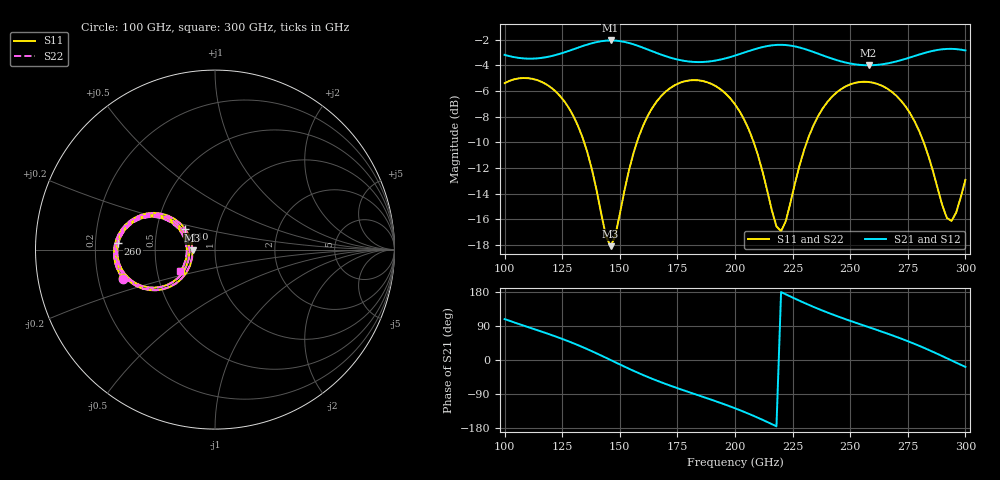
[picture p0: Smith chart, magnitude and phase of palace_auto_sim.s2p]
#  GHZ S DB R 50
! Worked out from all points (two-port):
!   101 points, 100 GHz to 300 GHz, reference 50 ohm
!   highest |S21| = -2.06 dB at 146 GHz (marker M1); lowest = -4.0 dB at 258 GHz (marker M2)
!   |S21| within 3 dB of the highest: start of sweep to end of sweep
!   lowest |S11| = -18.1 dB at 146 GHz (marker M3), VSWR 1.29, Z = 38.9 - j0.352 ohm
!   |S11| at or under -10 dB: 134.5 GHz to 157.4 GHz (22.89 GHz wide, 15.7 % of centre); 208.1 GHz to 231.1 GHz (23.01 GHz wide, 10.5 % of centre); 281.9 GHz to end of sweep
!   |S22| runs from -18.0 to -5.0 dB; largest |S21 - S12| = 8.7e-14
!   S11 on the Smith chart (normalised r, x): 100 GHz: 0.31, -0.14; 140 GHz: 0.70, +0.17; 260 GHz: 0.30, +0.03; 300 GHz: 0.66, -0.17
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100  -5.39 -162.6  -3.18 107.9  -3.18 107.9  -5.39 -162.5
116  -5.28 171.1  -3.42 75.1  -3.42 75.1  -5.28 171.2
126  -6.82 155.1  -2.99 53.3  -2.99 53.3  -6.81 155.2
134  -9.70 144.3  -2.49 33.7  -2.49 33.7  -9.69 144.6
140  -13.79 145.0  -2.19 17.3  -2.19 17.3  -13.75 145.4
146  -18.08 -178.0  -2.06 0.0  -2.06 0.0  -17.97 -177.9
158  -9.67 -140.5  -2.49 -34.0  -2.49 -34.0  -9.66 -140.7
168  -6.38 -154.7  -3.17 -58.9  -3.17 -58.9  -6.38 -154.7
184  -5.16 179.9  -3.75 -93.0  -3.75 -93.0  -5.16 179.9
200  -7.03 155.5  -3.24 -127.4  -3.24 -127.4  -7.03 155.5
210  -11.02 145.7  -2.67 -152.6  -2.67 -152.6  -11.03 145.7
220  -16.91 -175.4  -2.40 179.2  -2.40 179.2  -16.95 -175.2
226  -13.21 -144.8  -2.52 162.0  -2.52 162.0  -13.22 -144.6
234  -8.70 -145.5  -2.96 140.4  -2.96 140.4  -8.70 -145.3
244  -6.12 -159.4  -3.59 116.4  -3.59 116.4  -6.12 -159.2
258  -5.29 179.3  -3.99 86.7  -3.99 86.7  -5.29 179.6
260  -5.35 176.3  -3.99 82.6  -3.99 82.6  -5.35 176.6
268  -6.05 164.5  -3.78 65.6  -3.78 65.6  -6.04 164.8
280  -9.14 149.4  -3.16 37.3  -3.16 37.3  -9.12 149.8
292  -15.89 171.2  -2.72 4.5  -2.72 4.5  -15.79 171.5
296  -15.46 -162.2  -2.73 -6.9  -2.73 -6.9  -15.36 -162.3
300  -12.92 -148.0  -2.84 -18.2  -2.84 -18.2  -12.87 -148.1
